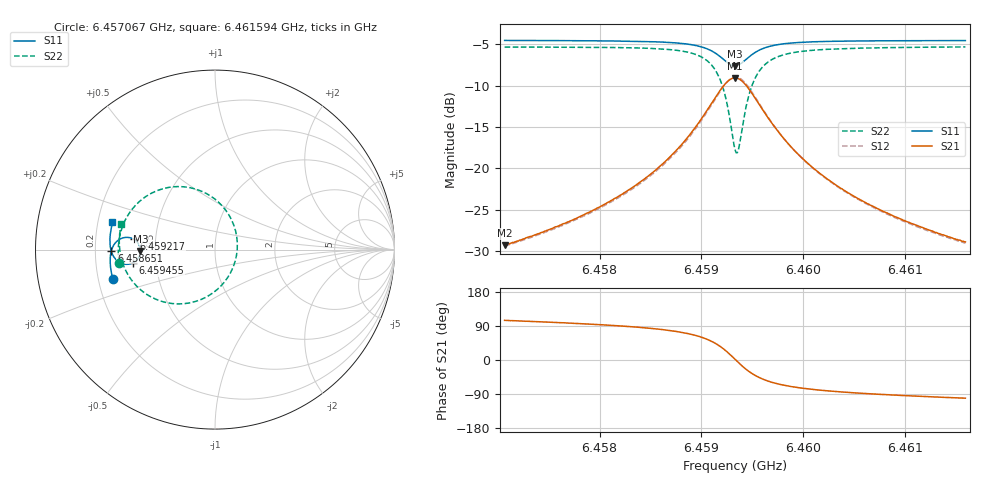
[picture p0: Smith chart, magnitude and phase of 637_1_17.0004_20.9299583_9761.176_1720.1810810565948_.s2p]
#  HZ  S  RI  R  50.00
! Rohde & Schwarz Vector Network Analyzer
! Rohde-Schwarz,ZNB20-2Port,1311601062101988,3.16
! Created: UTC 3/20/2024, 11:20:40 PM
! freq[Hz]  re:S11  im:S11  re:S21  im:S21  re:S12  im:S12  re:S22  im:S22
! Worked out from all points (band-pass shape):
!   401 points, 6.457067 GHz to 6.461594 GHz, reference 50 ohm
!   highest |S21| = -9.08 dB at 6.45933 GHz (marker M1); lowest = -29.3 dB at 6.457067 GHz (marker M2)
!   |S21| within 3 dB of the highest: 6.459105 GHz to 6.459557 GHz (452.7 kHz wide, 0.00701 % of centre)
!   lowest |S11| = -7.6 dB at 6.45933 GHz (marker M3), VSWR 2.42, Z = 20.7 - j0.354 ohm
!   |S11| at or under -10 dB: nowhere
!   |S22| runs from -18.1 to -5.3 dB; largest |S21 - S12| = 0.014
!   S11 on the Smith chart (normalised r, x): 6.457067 GHz: 0.26, -0.13; 6.458651 GHz: 0.27, -0.00; 6.459217 GHz: 0.38, +0.05; 6.459455 GHz: 0.37, -0.07; 6.461594 GHz: 0.26, +0.12
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6.4570668e9  -0.5687 -0.1653  -0.00863 0.0331  -0.00683 0.0331  -0.5346 -0.0764
6.4578251e9  -0.5817 -0.0984  -0.00514 0.0514  -0.00258 0.0507  -0.5388 0.0136
6.4582099e9  -0.5841 -0.0599  0.000305 0.0689  0.00352 0.0677  -0.5308 0.0748
6.4585834e9  -0.5797 -0.0152  0.0153 0.1002  0.0195 0.0974  -0.5027 0.1592
6.4586514e9  -0.5774 -0.00571  0.0209 0.1086  0.0251 0.1053  -0.4923 0.1792
6.4588438e9  -0.5645 0.0247  0.0482 0.1398  0.0523 0.1349  -0.4411 0.2488
6.4589909e9  -0.5411 0.0509  0.0944 0.1705  0.0976 0.1636  -0.3558 0.3132
6.4591267e9  -0.4967 0.0681  0.1831 0.1867  0.1838 0.1793  -0.1934 0.3511
6.4592173e9  -0.4516 0.0574  0.2742 0.1545  0.2742 0.1486  -0.0245 0.2985
6.4592852e9  -0.4222 0.0245  0.3352 0.0811  0.3374 0.0758  0.0923 0.1658
6.4593304e9  -0.4153 -0.0071  0.3514 0.012  0.3552 0.00493  0.1245 0.0361
6.4593644e9  -0.4194 -0.0313  0.3453 -0.0413  0.3494 -0.0506  0.1121 -0.0653
6.4594097e9  -0.4353 -0.0578  0.3159 -0.1022  0.3183 -0.1143  0.0525 -0.1805
6.4594549e9  -0.4578 -0.0743  0.2729 -0.1437  0.272 -0.1573  -0.0348 -0.2564
6.4595455e9  -0.5019 -0.0814  0.1861 -0.1749  0.18 -0.1866  -0.2077 -0.3025
6.4596134e9  -0.5265 -0.0739  0.137 -0.1726  0.1288 -0.1816  -0.3029 -0.2865
6.4596926e9  -0.5464 -0.0606  0.0967 -0.1602  0.0881 -0.1665  -0.3785 -0.2508
6.4598511e9  -0.5681 -0.0328  0.0514 -0.1314  0.0435 -0.1342  -0.4598 -0.1769
6.4600888e9  -0.5809 0.00283  0.022 -0.0989  0.016 -0.0996  -0.5079 -0.0929
6.4604283e9  -0.5852 0.0437  0.00597 -0.0716  0.00179 -0.0712  -0.5292 -0.013
6.4608471e9  -0.5833 0.086  -0.00177 -0.0528  -0.00467 -0.0519  -0.5331 0.0554
6.4615941e9  -0.5713 0.1524  -0.00671 -0.0352  -0.00844 -0.0341  -0.5214 0.145
